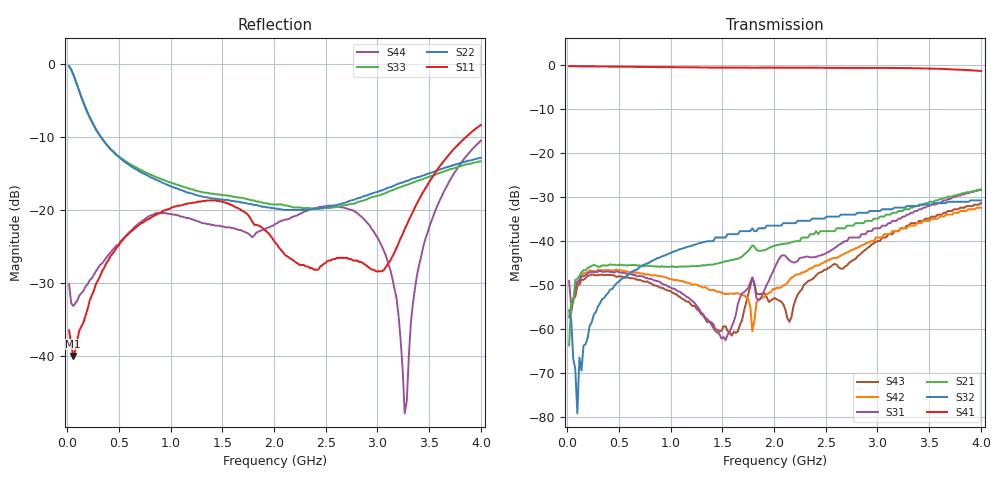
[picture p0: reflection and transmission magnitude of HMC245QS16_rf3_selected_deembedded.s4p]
!Hittite Microwave Corporation
!12 Elizabeth Drive
!Chelmsford, MA 01824
!Tel: 978-250-3343
!Fax: 978-250-3373
!Device: HMC245QS16, DC-3.5 GHz GaAs MMIC SP3T Non-Reflective Switch in 16 lead QSOP package
!Misc: Port 1 = RFC, Port 2 = RF1, Port 3 = RF2. Port 4 = RF3, RF3 Selected, Bias: +5VDC, DEEMBEDDED TO THE PINS OF THE DEVICE
# MHZ S MA R 50
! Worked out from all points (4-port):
!   201 points, 19.9 MHz to 4 GHz, reference 50 ohm
!   strongest paths, dB at 19.9 MHz, 1.015 GHz, 2.01 GHz, 3.005 GHz, 4 GHz:
!     S41: -0.3, -0.5, -0.6, -0.7, -1.4
!     S32: -55.7, -42.5, -36.5, -33.2, -30.8
!     S21: -63.7, -45.7, -41.0, -34.9, -28.2
!     S31: -49.1, -50.7, -45.8, -37.1, -28.4
!     S42: -57.1, -48.6, -50.9, -39.2, -32.4
!     S43: -57.3, -51.7, -53.0, -40.0, -31.4
!   lowest |S11| = -40.0 dB at 59.7 MHz (marker M1), VSWR 1.02, Z = 50.7 - j0.677 ohm
!   |S11| at or under -10 dB: start of sweep to 3.859 GHz
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19.9  0.015 -14.5  0.0008254 111.4  0.0005631 96.2  0.968 -2.0
      0.0006565 -170.5  0.962 -11.9  0.0003334 18.4  0.002386 -23.5
      0.003516 73.8  0.001641 55.4  0.962 -12.1  0.002339 132.5
      0.969 -1.8  0.00139 78.0  0.001365 -169.0  0.031 18.1
59.701  0.01 -41.8  0.002413 74.3  0.002224 68.6  0.965 -3.3
        0.001977 78.1  0.848 -31.8  0.0007024 -7.1  0.002099 80.9
        0.002138 64.3  0.0004627 24.6  0.845 -32.1  0.002071 67.1
        0.969 -3.2  0.002181 67.1  0.002247 80.2  0.022 -14.9
99.502  0.013 -51.7  0.003685 56.2  0.003499 53.0  0.963 -5.1
        0.003697 54.6  0.709 -46.6  8.364e-05 99.6  0.003438 45.7
        0.003506 50.1  0.0001111 13.4  0.705 -47.0  0.003234 50.0
        0.967 -5.1  0.00324 45.5  0.003096 48.9  0.024 -27.8
597.015  0.069 -81.2  0.005311 15.2  0.004222 -6.8  0.951 -28.0
         0.00533 15.6  0.204 -91.3  0.004234 88.5  0.004555 -24.1
         0.004218 -5.6  0.00421 88.1  0.208 -91.3  0.003775 -11.3
         0.955 -27.9  0.004425 -24.8  0.003832 -11.5  0.07 -85.5
2766.169  0.045 -14.3  0.015 39.4  0.011 66.4  0.924 -126.4
          0.015 40.0  0.117 -7.3  0.02 32.5  0.008022 107.6
          0.011 66.5  0.02 32.4  0.11 -9.1  0.006065 71.1
          0.926 -126.4  0.008002 107.4  0.006118 71.3  0.099 -56.2
3263.682  0.074 76.5  0.023 31.8  0.019 56.0  0.919 -150.9
          0.023 31.8  0.156 16.5  0.024 19.5  0.014 74.2
          0.019 56.1  0.024 19.6  0.147 20.3  0.014 48.8
          0.921 -151.0  0.014 74.4  0.014 49.0  0.004058 -9.5
4000  0.381 75.0  0.039 6.2  0.038 18.0  0.851 169.7
      0.039 6.2  0.227 30.1  0.029 -4.4  0.024 23.9
      0.038 18.1  0.029 -4.4  0.215 35.1  0.026 -4.0
      0.855 169.8  0.024 24.4  0.027 -3.6  0.298 70.9
